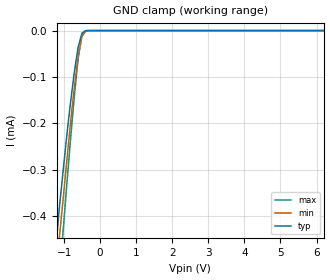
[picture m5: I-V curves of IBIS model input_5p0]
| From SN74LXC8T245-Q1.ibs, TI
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|   input_5p0 Model
[Model]   input_5p0
Model_type   Input
Vinl = 2.0
Vinh = 3.0
|   typ   min   max
C_comp   2.81pF   2.18pF   3.98pF
[Voltage Range]   5   4.5   5.5
|Junction Temperature
[Temperature Range]   25   125   -40
[GND Clamp Reference]   0   0   0
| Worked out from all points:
|   GND clamp passes 1 mA (typ) near -1.81 V on its own axis
[GND Clamp]
|   Voltage   I(typ)   I(min)   I(max)
-2.5V     -1.66mA    -1.64mA    -2.09mA
-1.24V    -478uA     -541uA     -650uA
-1.14V    -389uA     -453uA     -542uA
-1.03V    -305uA     -366uA     -435uA
-925mV    -226uA     -281uA     -332uA
-820mV    -154uA     -198uA     -233uA
-715mV    -88.7uA    -121uA     -140uA
-610mV    -35.6uA    -55uA      -59.7uA
-505mV    -5.5uA     -12.7uA    -8.49uA
-400mV    -210nA     -1.14uA    -141nA
8V        3.62nA     3.43nA     4.22nA
